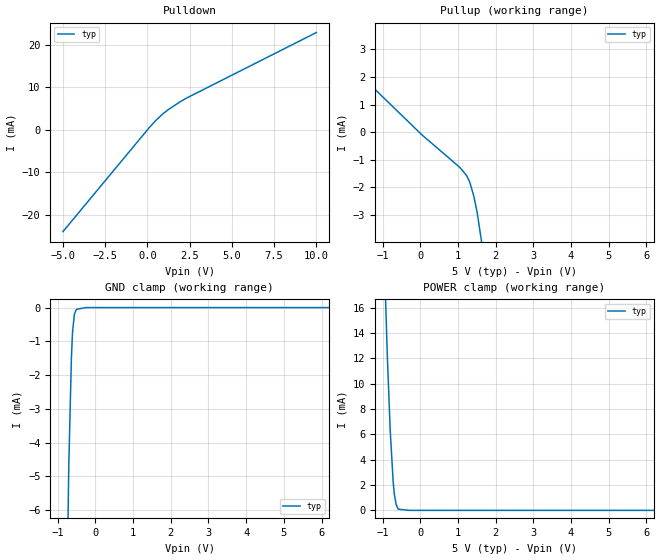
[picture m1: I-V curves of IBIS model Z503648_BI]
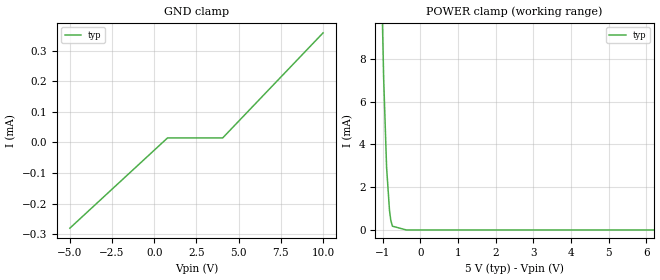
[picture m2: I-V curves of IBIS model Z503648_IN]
| YOU ARE ONLY AUTHORIZED TO USE THIS SOFTWARE
| ACCORDING TO LICENSOR'S LICENSE RESTRICTIONS.
[IBIS Ver] 3.1
[File Name] mc14529bcl.ibs
[File Rev] 2.0
[Source] Measured and created by ICX Technology
[Date] Friday 7/14/00 9:07:56 AM
[Copyright]
| (C) COPYRIGHT 1993-2000
| MENTOR GRAPHICS CORPORATION
| ICX STANDARD LIBRARY, ICX PROJECT MODELING,
| ICX CUSTOM MODELING, ICX VENDOR MODEL
| ALL RIGHTS RESERVED.
| THE FOLLOWING ARE TRADEMARKS OR SERVICE MARKS OF
| MENTOR GRAPHICS CORPORATION:ICX (R), ICX STANDARD
| LIBRARY(R), ICX PROJECT MODELING(R), ICX CUSTOM
| MODELING(R), qualityIBIS(TM), MODELVIEWER(TM),
| AND MODELEDITOR(TM)
| ALL COPIES OF SOFTWARE, INCLUDING BUT NOT LIMITED TO
| ANY MODIFICATIONS, ENHANCEMENTS OR DERIVATIVE WORKS,
| MUST CONTAIN ALL MENTOR GRAPHICS CORPORATION'S
| NOTICES AND LEGENDS, INCLUDING THOSE EMBEDDED IN
| SOFTWARE AND THOSE AFFIXED TO SOFTWARE MEDIUM
| AND CONTAINER, AS RECEIVED FROM MENTOR GRAPHICS
| CORPORATION.
|  ZAP Model Builder 2.7
[Component] MC14529BCL
[Manufacturer] OnSemiconductor
[Package]
| variable   typ   min   max
R_pkg  .212ohms NA NA
L_pkg  4.758nH NA NA
C_pkg  1.944pF NA NA
[Pin] signal_name  model_name  R_pin  L_pin C_pin
1 S Z503648_IN .224 7.258n 2.683p
2 X0 Z503648_BI .216 5.258n 2.19p
3 X1 Z503648_BI .208 3.758n 1.697p
4 X2 Z503648_BI .2 2.758n 1.204p
5 X3 Z503648_BI .2 2.758n 1.204p
6 A Z503648_IN .208 3.758n 1.697p
7 B Z503648_IN .216 5.258n 2.19p
8 VSS POWER .224 7.258n 2.683p
9 Z Z503648_BI .224 7.258n 2.683p
10 W Z503648_BI .216 5.258n 2.19p
11 Y3 Z503648_BI .208 3.758n 1.697p
12 Y2 Z503648_BI .2 2.758n 1.204p
13 Y1 Z503648_BI .2 2.758n 1.204p
14 Y0 Z503648_BI .208 3.758n 1.697p
15 S Z503648_IN .216 5.258n 2.19p
16 VDD POWER .224 7.258n 2.683p
| Models and submodels in the file (2): Z503648_BI (I/O), Z503648_IN (Input)
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| (C) COPYRIGHT 1993-2000
| MENTOR GRAPHICS CORPORATION
| ICX STANDARD LIBRARY, ICX PROJECT MODELING,
| ICX CUSTOM MODELING, ICX VENDOR MODEL
| ALL RIGHTS RESERVED.
| THE FOLLOWING ARE TRADEMARKS OR SERVICE MARKS OF
| MENTOR GRAPHICS CORPORATION:ICX (R), ICX STANDARD
| LIBRARY(R), ICX PROJECT MODELING(R), ICX CUSTOM
| MODELING(R), qualityIBIS(TM), MODELVIEWER(TM),
| AND MODELEDITOR(TM)
| ALL COPIES OF SOFTWARE, INCLUDING BUT NOT LIMITED TO
| ANY MODIFICATIONS, ENHANCEMENTS OR DERIVATIVE WORKS,
| MUST CONTAIN ALL MENTOR GRAPHICS CORPORATION'S
| NOTICES AND LEGENDS, INCLUDING THOSE EMBEDDED IN
| SOFTWARE AND THOSE AFFIXED TO SOFTWARE MEDIUM
| AND CONTAINER, AS RECEIVED FROM MENTOR GRAPHICS
| CORPORATION.
| Model Application Version 1.89 2/18/99.
[Model] Z503648_BI
Model_type I/O
Vinl=1.500V
Vinh=3.500V
Vref=0.000V
Rref=1.000kohms
Cref=50.00pF
Vmeas=2.500V
C_comp 8.000pF NA NA
| variable typ   min   max
[Voltage Range] 5.000V NA NA
[POWER Clamp Reference] 5.000V NA NA
[Pullup Reference] 5.000V NA NA
[Pulldown Reference] 0.000V NA NA
[GND Clamp Reference] 0.000V NA NA
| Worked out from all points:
|   slope of the pulldown table from 0 to 0.75 V, typ, clamps not added: 237 ohm
|   slope of the pullup table from 0 to 0.75 V, typ, clamps not added: 846 ohm
|   GND clamp passes 1 mA (typ) near -0.62 V on its own axis
|   POWER clamp passes 1 mA (typ) near -0.67 V on its own axis
[GND Clamp]
-5V       -327.9mA   NA         NA
-707.4mV  -4.623mA   NA         NA
-639.6mV  -1.509mA   NA         NA
-610.2mV  -742.6uA   NA         NA
-560.2mV  -198uA     NA         NA
-505.5mV  -52.9uA    NA         NA
-252.8mV  0A         NA         NA
10V       0A         NA         NA
[Pulldown]
-5V       -23.94mA   NA         NA
102.5mV   487uA      NA         NA
503.5mV   2.233mA    NA         NA
906.9mV   3.741mA    NA         NA
1.255V    4.809mA    NA         NA
1.914V    6.545mA    NA         NA
2.344V    7.526mA    NA         NA
10V       22.88mA    NA         NA
[Pullup]
-5V       6.577mA    NA         NA
44mV      -98.21uA   NA         NA
1.05V     -1.278mA   NA         NA
1.228V    -1.568mA   NA         NA
1.309V    -1.789mA   NA         NA
1.42V     -2.302mA   NA         NA
1.515V    -2.936mA   NA         NA
10V       -80.31mA   NA         NA
[POWER Clamp]
-5V       409.8mA    NA         NA
-874mV    12.32mA    NA         NA
-796mV    6.306mA    NA         NA
-717mV    2.228mA    NA         NA
-688mV    1.308mA    NA         NA
-638mV    453.6uA    NA         NA
-586mV    95.86uA    NA         NA
-293mV    0A         NA         NA
10V       0A         NA         NA
[Ramp]
| variable typ min max
dV/dt_r 2.280/9.042n NA NA
dV/dt_f 2.280/8.458n NA NA
R_load = 2.500kOhms
| (C) COPYRIGHT 1993-2000
| MENTOR GRAPHICS CORPORATION
| ICX STANDARD LIBRARY, ICX PROJECT MODELING,
| ICX CUSTOM MODELING, ICX VENDOR MODEL
| ALL RIGHTS RESERVED.
| THE FOLLOWING ARE TRADEMARKS OR SERVICE MARKS OF
| MENTOR GRAPHICS CORPORATION:ICX (R), ICX STANDARD
| LIBRARY(R), ICX PROJECT MODELING(R), ICX CUSTOM
| MODELING(R), qualityIBIS(TM), MODELVIEWER(TM),
| AND MODELEDITOR(TM)
| ALL COPIES OF SOFTWARE, INCLUDING BUT NOT LIMITED TO
| ANY MODIFICATIONS, ENHANCEMENTS OR DERIVATIVE WORKS,
| MUST CONTAIN ALL MENTOR GRAPHICS CORPORATION'S
| NOTICES AND LEGENDS, INCLUDING THOSE EMBEDDED IN
| SOFTWARE AND THOSE AFFIXED TO SOFTWARE MEDIUM
| AND CONTAINER, AS RECEIVED FROM MENTOR GRAPHICS
| CORPORATION.
| Model Application Version 1.89 2/18/99.
[Model] Z503648_IN
Model_type Input
Vinl = 1.500V
Vinh = 3.500V
C_comp 4.000pF NA NA
| variable typ   min   max
[Voltage Range] 5.000V NA NA
[GND Clamp Reference] 0.000V NA NA
[POWER Clamp Reference] 5.000V NA NA
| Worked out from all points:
|   POWER clamp passes 1 mA (typ) near -0.82 V on its own axis
[GND Clamp]
-5V       -280.3uA   NA         NA
786.7mV   14.99uA    NA         NA
4.054V    14.99uA    NA         NA
10V       358.6uA    NA         NA
[POWER Clamp]
-5V       337.1mA    NA         NA
-977mV    7.151mA    NA         NA
-898mV    2.92mA     NA         NA
-820mV    893uA      NA         NA
-786mV    450.2uA    NA         NA
-744mV    177.1uA    NA         NA
-372mV    0A         NA         NA
10V       0A         NA         NA
